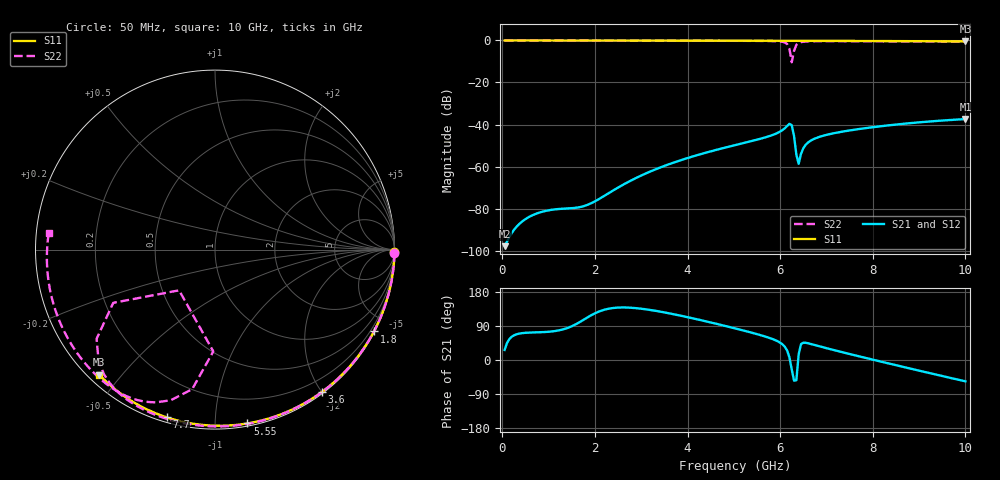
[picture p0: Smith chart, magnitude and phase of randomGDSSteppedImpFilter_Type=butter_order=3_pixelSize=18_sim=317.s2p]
! freq	dB(S11)	phase(S11)	dB(S12)	phase(S12)
!  dB(S21)	phase(S21)	dB(S22)	phase(S22)
!S-par simulation data
#  GHz  S  DB  R 50
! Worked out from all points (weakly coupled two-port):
!   200 points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, 50 MHz to 10 GHz, reference 50 ohm
!   highest |S21| = -37.43 dB at 10 GHz (marker M1); lowest = -97.9 dB at 50 MHz (marker M2)
!   lowest |S11| = -0.4 dB at 10 GHz (marker M3), VSWR 38.62, Z = 1.54 - j21.8 ohm
!   |S11| at or under -10 dB: nowhere
!   |S22| runs from -10.4 to 0.0 dB; largest |S21 - S12| = 0
!   S11 on the Smith chart (normalised r, x): 50 MHz: open; 1.8 GHz: 0.04, -4.13; 3.6 GHz: 0.02, -2.00; 5.55 GHz: 0.02, -1.20; 7.7 GHz: 0.02, -0.75; 10 GHz: 0.03, -0.44
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0.05  -0.00 -0.8  -97.90 26.6  -97.90 26.6  -0.00 -1.1
0.85  -0.02 -13.0  -81.59 73.4  -81.59 73.4  -0.02 -18.5
1.75  -0.03 -26.5  -78.91 105.8  -78.91 105.8  -0.05 -37.7
1.8  -0.03 -27.2  -78.56 109.5  -78.56 109.5  -0.05 -38.7
3.4  -0.07 -50.4  -60.55 127.9  -60.55 127.9  -0.09 -71.2
3.6  -0.07 -53.2  -58.90 123.3  -58.90 123.3  -0.10 -75.1
5.05  -0.11 -73.0  -49.69 82.7  -49.69 82.7  -0.16 -103.1
5.55  -0.13 -79.5  -46.93 66.6  -46.93 66.6  -0.21 -113.6
5.95  -0.15 -84.6  -43.94 49.2  -43.94 49.2  -0.39 -125.7
6.05  -0.15 -85.9  -42.65 41.3  -42.65 41.3  -0.63 -131.6
6.15  -0.15 -87.1  -40.72 25.2  -40.72 25.2  -1.66 -143.0
6.2  -0.16 -87.8  -39.68 7.1  -39.68 7.1  -3.88 -152.4
6.25  -0.16 -88.4  -40.31 -24.6  -40.31 -24.6  -10.39 -131.4
6.3  -0.16 -89.0  -45.47 -54.5  -45.47 -54.5  -4.92 -91.0
6.35  -0.16 -89.7  -54.38 -53.3  -54.38 -53.3  -2.07 -99.3
6.4  -0.17 -90.3  -58.70 15.0  -58.70 15.0  -1.16 -106.4
6.45  -0.17 -90.9  -53.97 41.8  -53.97 41.8  -0.79 -111.1
6.5  -0.17 -91.5  -51.28 45.6  -51.28 45.6  -0.61 -114.5
6.7  -0.18 -94.0  -47.19 41.1  -47.19 41.1  -0.38 -122.8
7.7  -0.24 -106.1  -42.16 9.8  -42.16 9.8  -0.36 -144.1
8.35  -0.29 -113.8  -40.38 -9.3  -40.38 -9.3  -0.41 -155.8
10  -0.45 -132.9  -37.43 -56.2  -37.43 -56.2  -0.62 174.5
